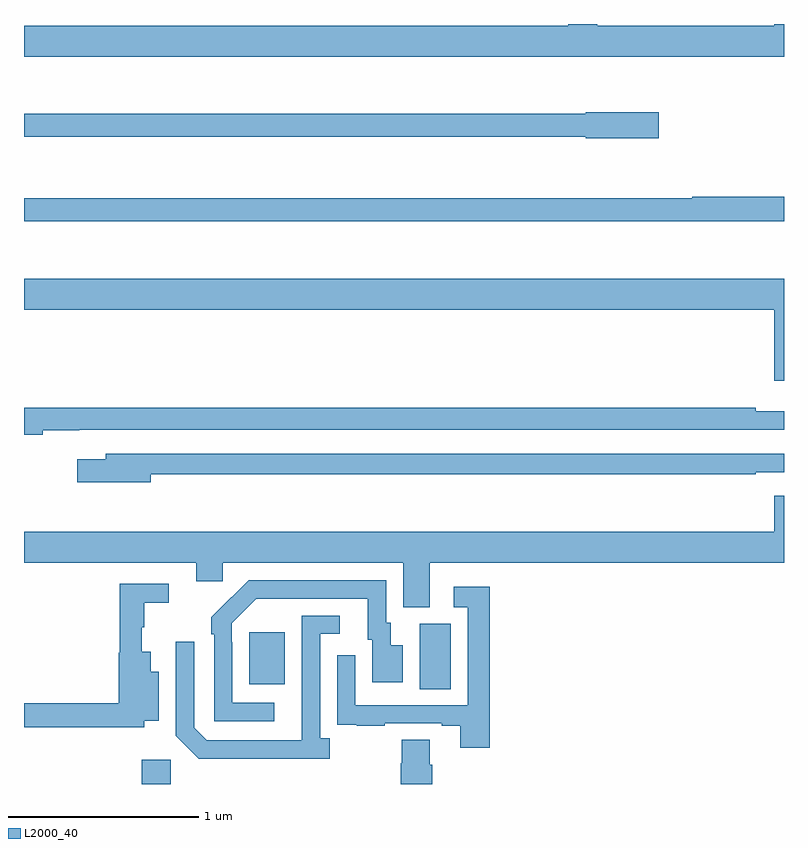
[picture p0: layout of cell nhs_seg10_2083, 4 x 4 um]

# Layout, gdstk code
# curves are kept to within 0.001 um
import gdstk
lib = gdstk.Library(unit=1e-6, precision=1e-09)
def R(c, l, rs):  # rectangles x0, y0, x1, y1
    for r in rs: c.add(gdstk.rectangle(r[:2], r[2:], *l))
def P(c, l, *ps):  # polygons
    for p in ps: c.add(gdstk.Polygon(p, *l))
L2000_40 = (2000, 40)

nhs_seg10_2083 = lib.new_cell('nhs_seg10_2083')
R(nhs_seg10_2083, L2000_40, [(221.621,1284.5,221.772,1284.628), (223.082,1285,223.246,1285.344), (222.185,1285.025,222.373,1285.3)])
P(nhs_seg10_2083, L2000_40, [(225,1288.5),(224.948,1288.5),(224.948,1288.492),(224.018,1288.492),(224.018,1288.5),(223.865,1288.5),(223.865,1288.492),(221,1288.492),(221,1288.328),(225,1288.328)],
  [(224.341,1288.035),(223.956,1288.035),(223.956,1288.027),(221,1288.027),(221,1287.906),(223.956,1287.906),(223.956,1287.898),(224.341,1287.898)],
  [(225,1287.59),(224.518,1287.59),(224.518,1287.583),(221,1287.583),(221,1287.462),(225,1287.462)],
  [(225,1287.16),(221,1287.16),(221,1286.996),(224.948,1286.996),(224.948,1286.622),(225,1286.622)],
  [(221.098,1286.363),(221.292,1286.363),(221.292,1286.364),(225,1286.364),(225,1286.461),(224.852,1286.461),(224.852,1286.48),(221,1286.48),(221,1286.339),(221.098,1286.339)],
  [(221.668,1286.13),(224.852,1286.13),(224.852,1286.142),(225,1286.142),(225,1286.238),(221.429,1286.238),(221.429,1286.209),(221.28,1286.209),(221.28,1286.087),(221.668,1286.087)],
  [(223.135,1285.664),(225,1285.664),(225,1286.017),(224.948,1286.017),(224.948,1285.828),(221,1285.828),(221,1285.664),(221.906,1285.664),(221.906,1285.566),(222.045,1285.566),(222.045,1285.664),(222.995,1285.664),(222.995,1285.429),(223.135,1285.429)],
  [(222.316,1284.927),(222.096,1284.927),(222.096,1285.247),(222.093,1285.247),(222.093,1285.347),(222.222,1285.476),(222.809,1285.476),(222.809,1285.26),(222.833,1285.26),(222.833,1285.035),(222.994,1285.035),(222.994,1285.231),(222.931,1285.231),(222.931,1285.35),(222.906,1285.35),(222.906,1285.572),(222.182,1285.572),(221.985,1285.377),(221.985,1285.289),(222,1285.289),(222,1284.831),(222.316,1284.831)],
  [(221.634,1284.833),(221.71,1284.833),(221.71,1285.09),(221.668,1285.09),(221.668,1285.195),(221.621,1285.195),(221.621,1285.326),(221.632,1285.326),(221.632,1285.453),(221.761,1285.453),(221.761,1285.554),(221.503,1285.554),(221.503,1285.191),(221.498,1285.191),(221.498,1284.926),(221,1284.926),(221,1284.798),(221.634,1284.798)],
  [(223.451,1285.537),(223.263,1285.537),(223.263,1285.431),(223.335,1285.431),(223.335,1284.915),(222.744,1284.915),(222.744,1285.177),(222.648,1285.177),(222.648,1284.922),(222.649,1284.922),(222.649,1284.813),(222.751,1284.813),(222.751,1284.807),(222.899,1284.807),(222.899,1284.819),(223.199,1284.819),(223.199,1284.807),(223.295,1284.807),(223.295,1284.69),(223.451,1284.69)],
  [(222.61,1284.742),(222.558,1284.742),(222.558,1285.29),(222.661,1285.29),(222.661,1285.386),(222.462,1285.386),(222.461,1284.729),(221.961,1284.729),(221.895,1284.795),(221.895,1285.249),(221.799,1285.249),(221.799,1284.753),(221.92,1284.632),(222.61,1284.632)],
  [(223.148,1284.602),(223.135,1284.602),(223.135,1284.734),(222.988,1284.734),(222.988,1284.609),(222.983,1284.609),(222.983,1284.5),(223.148,1284.5)])

lib.write_gds('nhs_seg10_2083.gds')
